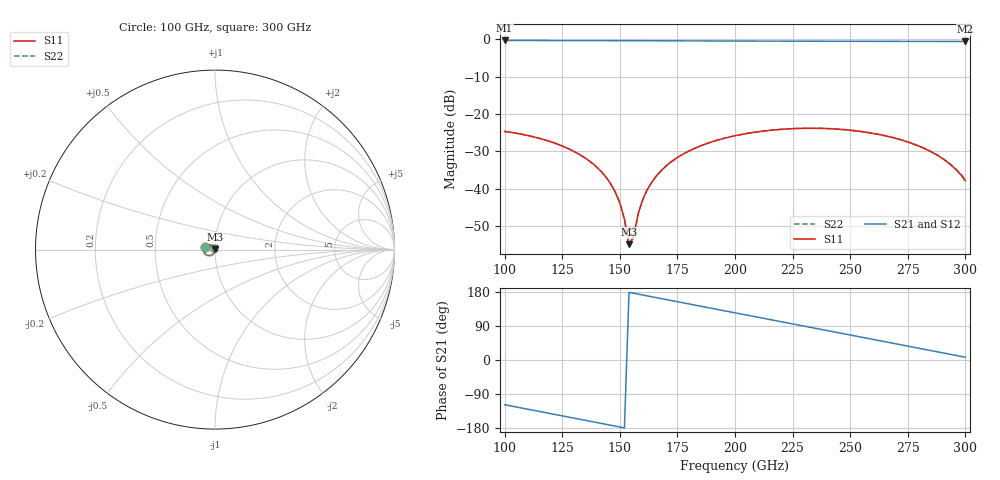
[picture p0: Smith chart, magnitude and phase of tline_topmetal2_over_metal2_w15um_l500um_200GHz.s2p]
#  GHZ S DB R 50
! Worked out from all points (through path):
!   101 points, 100 GHz to 300 GHz, reference 50 ohm
!   highest |S21| = -0.31 dB at 100 GHz (marker M1); lowest = -0.6 dB at 300 GHz (marker M2)
!   group delay of S21, straight-line fit = 3.26 ps
!   lowest |S11| = -54.9 dB at 154 GHz (marker M3), VSWR 1.00, Z = 49.8 + j0.0756 ohm
!   |S11| at or under -10 dB: start of sweep to end of sweep
!   |S22| runs from -55.4 to -23.8 dB; largest |S21 - S12| = 1.7e-12
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100  -24.69 165.0  -0.31 -118.0  -0.31 -118.0  -24.67 165.3
120  -27.45 140.5  -0.33 -141.5  -0.33 -141.5  -27.43 140.9
134  -31.43 124.4  -0.34 -158.0  -0.34 -158.0  -31.41 124.7
142  -35.48 116.4  -0.35 -167.4  -0.35 -167.4  -35.46 116.6
148  -40.88 113.5  -0.36 -174.4  -0.36 -174.4  -40.86 113.3
150  -43.82 115.1  -0.36 -176.8  -0.36 -176.8  -43.81 114.5
152  -48.15 121.9  -0.37 -179.2  -0.37 -179.2  -48.20 120.5
154  -54.93 155.0  -0.37 178.5  -0.37 178.5  -55.43 152.4
156  -52.74 -127.5  -0.37 176.1  -0.37 176.1  -53.16 -124.5
158  -46.66 -107.7  -0.38 173.8  -0.38 173.8  -46.78 -105.4
160  -42.86 -103.2  -0.38 171.4  -0.38 171.4  -42.91 -101.3
164  -38.15 -102.9  -0.39 166.7  -0.39 166.7  -38.17 -101.5
168  -35.15 -105.6  -0.39 162.0  -0.39 162.0  -35.16 -104.4
182  -29.35 -119.9  -0.42 145.6  -0.42 145.6  -29.34 -118.7
200  -25.85 -139.8  -0.46 124.5  -0.46 124.5  -25.84 -138.6
218  -24.23 -159.9  -0.49 103.4  -0.49 103.4  -24.21 -158.6
234  -23.84 -177.9  -0.51 84.7  -0.51 84.7  -23.82 -176.5
250  -24.37 164.1  -0.53 66.0  -0.53 66.0  -24.34 165.7
268  -26.27 144.1  -0.55 44.9  -0.55 44.9  -26.23 146.0
288  -31.14 123.6  -0.57 21.4  -0.57 21.4  -31.07 126.5
294  -33.82 119.0  -0.57 14.3  -0.57 14.3  -33.70 122.5
300  -37.88 117.3  -0.58 7.3  -0.58 7.3  -37.64 122.3
